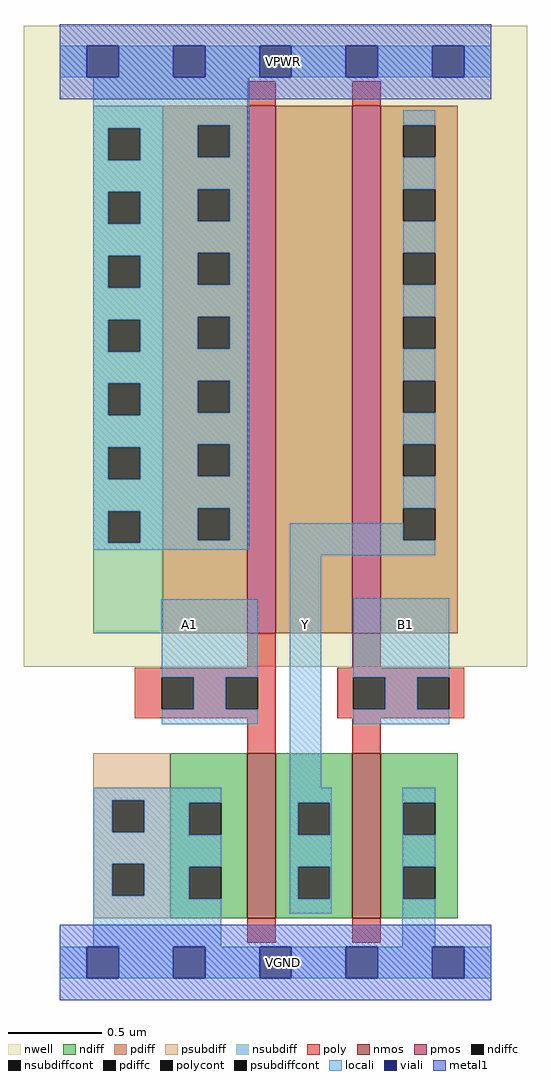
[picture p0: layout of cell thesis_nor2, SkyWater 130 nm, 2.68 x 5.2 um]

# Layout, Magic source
magic
tech sky130A
magscale 1 2
<< nwell >>
rect -38 315 498 998
<< nmos >>
rect 200 47 230 223
rect 312 47 342 223
<< pmos >>
rect 200 351 230 913
rect 312 351 342 913
<< ndiff >>
rect 118 170 200 223
rect 118 136 138 170
rect 172 136 200 170
rect 118 102 200 136
rect 118 68 138 102
rect 172 68 200 102
rect 118 47 200 68
rect 230 170 312 223
rect 230 136 254 170
rect 288 136 312 170
rect 230 102 312 136
rect 230 68 254 102
rect 288 68 312 102
rect 230 47 312 68
rect 342 170 424 223
rect 342 136 366 170
rect 400 136 424 170
rect 342 102 424 136
rect 342 68 366 102
rect 400 68 424 102
rect 342 47 424 68
<< pdiff >>
rect 110 892 200 913
rect 110 858 147 892
rect 181 858 200 892
rect 110 824 200 858
rect 110 790 147 824
rect 181 790 200 824
rect 110 756 200 790
rect 110 722 147 756
rect 181 722 200 756
rect 110 688 200 722
rect 110 654 147 688
rect 181 654 200 688
rect 110 620 200 654
rect 110 586 147 620
rect 181 586 200 620
rect 110 552 200 586
rect 110 518 147 552
rect 181 518 200 552
rect 110 484 200 518
rect 110 450 147 484
rect 181 450 200 484
rect 110 351 200 450
rect 230 351 312 913
rect 342 892 424 913
rect 342 858 366 892
rect 400 858 424 892
rect 342 824 424 858
rect 342 790 366 824
rect 400 790 424 824
rect 342 756 424 790
rect 342 722 366 756
rect 400 722 424 756
rect 342 688 424 722
rect 342 654 366 688
rect 400 654 424 688
rect 342 620 424 654
rect 342 586 366 620
rect 400 586 424 620
rect 342 552 424 586
rect 342 518 366 552
rect 400 518 424 552
rect 342 484 424 518
rect 342 450 366 484
rect 400 450 424 484
rect 342 351 424 450
<< ndiffc >>
rect 138 136 172 170
rect 138 68 172 102
rect 254 136 288 170
rect 254 68 288 102
rect 366 136 400 170
rect 366 68 400 102
<< pdiffc >>
rect 147 858 181 892
rect 147 790 181 824
rect 147 722 181 756
rect 147 654 181 688
rect 147 586 181 620
rect 147 518 181 552
rect 147 450 181 484
rect 366 858 400 892
rect 366 790 400 824
rect 366 722 400 756
rect 366 654 400 688
rect 366 586 400 620
rect 366 518 400 552
rect 366 450 400 484
<< psubdiff >>
rect 36 173 118 223
rect 36 139 56 173
rect 90 139 118 173
rect 36 105 118 139
rect 36 71 56 105
rect 90 71 118 105
rect 36 47 118 71
<< nsubdiff >>
rect 36 889 110 913
rect 36 855 52 889
rect 86 855 110 889
rect 36 821 110 855
rect 36 787 52 821
rect 86 787 110 821
rect 36 753 110 787
rect 36 719 52 753
rect 86 719 110 753
rect 36 685 110 719
rect 36 651 52 685
rect 86 651 110 685
rect 36 617 110 651
rect 36 583 52 617
rect 86 583 110 617
rect 36 549 110 583
rect 36 515 52 549
rect 86 515 110 549
rect 36 481 110 515
rect 36 447 52 481
rect 86 447 110 481
rect 36 351 110 447
<< psubdiffcont >>
rect 56 139 90 173
rect 56 71 90 105
<< nsubdiffcont >>
rect 52 855 86 889
rect 52 787 86 821
rect 52 719 86 753
rect 52 651 86 685
rect 52 583 86 617
rect 52 515 86 549
rect 52 447 86 481
<< poly >>
rect 200 913 230 939
rect 312 913 342 939
rect 200 314 230 351
rect 312 314 342 351
rect 80 304 230 314
rect 80 270 109 304
rect 143 270 177 304
rect 211 270 230 304
rect 80 260 230 270
rect 296 304 431 314
rect 296 270 313 304
rect 347 270 381 304
rect 415 270 431 304
rect 296 260 431 270
rect 200 223 230 260
rect 312 223 342 260
rect 200 21 230 47
rect 312 21 342 47
<< polycont >>
rect 109 270 143 304
rect 177 270 211 304
rect 313 270 347 304
rect 381 270 415 304
<< locali >>
rect 0 943 29 977
rect 63 943 121 977
rect 155 943 213 977
rect 247 943 305 977
rect 339 943 397 977
rect 431 943 460 977
rect 36 892 202 943
rect 36 889 147 892
rect 36 855 52 889
rect 86 858 147 889
rect 181 858 202 892
rect 86 855 202 858
rect 36 824 202 855
rect 36 821 147 824
rect 36 787 52 821
rect 86 790 147 821
rect 181 790 202 824
rect 86 787 202 790
rect 36 756 202 787
rect 36 753 147 756
rect 36 719 52 753
rect 86 722 147 753
rect 181 722 202 756
rect 86 719 202 722
rect 36 688 202 719
rect 36 685 147 688
rect 36 651 52 685
rect 86 654 147 685
rect 181 654 202 688
rect 86 651 202 654
rect 36 620 202 651
rect 36 617 147 620
rect 36 583 52 617
rect 86 586 147 617
rect 181 586 202 620
rect 86 583 202 586
rect 36 552 202 583
rect 36 549 147 552
rect 36 515 52 549
rect 86 518 147 549
rect 181 518 202 552
rect 86 515 202 518
rect 36 484 202 515
rect 36 481 147 484
rect 36 447 52 481
rect 86 450 147 481
rect 181 450 202 484
rect 366 892 400 908
rect 366 824 400 858
rect 366 756 400 790
rect 366 688 400 722
rect 366 620 400 654
rect 366 552 400 586
rect 366 484 400 518
rect 86 447 202 450
rect 36 440 202 447
rect 245 450 366 468
rect 245 434 400 450
rect 109 304 211 387
rect 143 270 177 304
rect 109 254 211 270
rect 245 186 279 434
rect 313 304 415 388
rect 347 270 381 304
rect 313 254 415 270
rect 36 173 172 186
rect 36 139 56 173
rect 90 170 172 173
rect 90 139 138 170
rect 36 136 138 139
rect 36 105 172 136
rect 36 71 56 105
rect 90 102 172 105
rect 90 71 138 102
rect 36 68 138 71
rect 36 17 172 68
rect 245 170 290 186
rect 245 136 254 170
rect 288 136 290 170
rect 245 102 290 136
rect 245 68 254 102
rect 288 68 290 102
rect 245 52 290 68
rect 365 170 400 186
rect 365 136 366 170
rect 365 102 400 136
rect 365 68 366 102
rect 365 17 400 68
rect 0 -17 29 17
rect 63 -17 121 17
rect 155 -17 213 17
rect 247 -17 305 17
rect 339 -17 397 17
rect 431 -17 460 17
<< viali >>
rect 29 943 63 977
rect 121 943 155 977
rect 213 943 247 977
rect 305 943 339 977
rect 397 943 431 977
rect 29 -17 63 17
rect 121 -17 155 17
rect 213 -17 247 17
rect 305 -17 339 17
rect 397 -17 431 17
<< metal1 >>
rect 0 977 460 1000
rect 0 943 29 977
rect 63 943 121 977
rect 155 943 213 977
rect 247 943 305 977
rect 339 943 397 977
rect 431 943 460 977
rect 0 920 460 943
rect 0 17 460 40
rect 0 -17 29 17
rect 63 -17 121 17
rect 155 -17 213 17
rect 247 -17 305 17
rect 339 -17 397 17
rect 431 -17 460 17
rect 0 -40 460 -17
<< labels >>
flabel metal1 s 221 943 255 977 0 FreeSans 240 0 0 0 VPWR
port 3 nsew power bidirectional
flabel metal1 s 221 -17 255 17 0 FreeSans 240 0 0 0 VGND
port 4 nsew ground bidirectional
flabel locali s 121 343 155 377 0 FreeSans 240 0 0 0 A1
port 0 nsew signal input
flabel locali s 351 343 385 377 0 FreeSans 240 0 0 0 B1
port 1 nsew signal input
flabel locali s 245 343 279 377 0 FreeSans 240 0 0 0 Y
port 2 nsew signal output
<< properties >>
string FIXED_BBOX 0 0 460 960
string LEFclass CORE
string LEForigin 0 0
<< end >>
